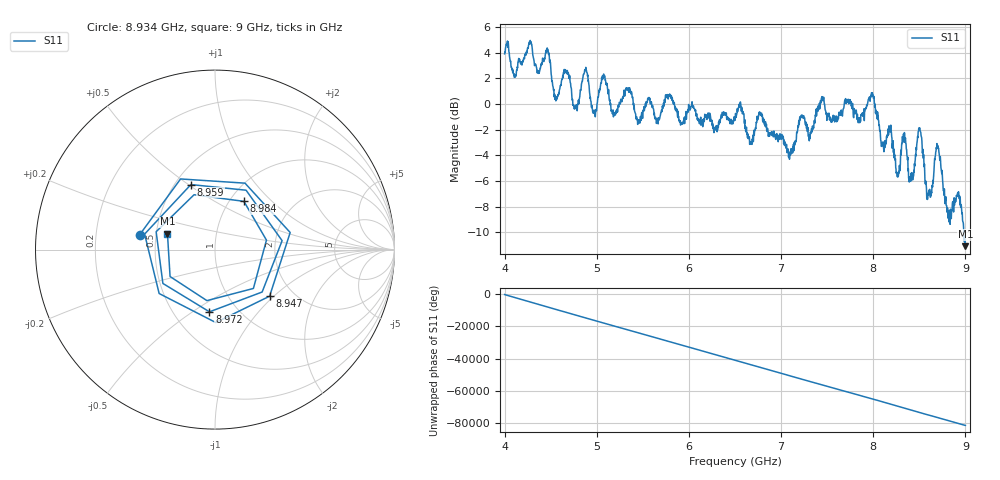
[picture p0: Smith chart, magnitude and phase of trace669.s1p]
! Created with skrf 1.8.0 (http://scikit-rf.org).
# Hz S RI R 50.0
!freq ReS11 ImS11
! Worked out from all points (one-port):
!   1601 points, 4 GHz to 9 GHz, reference 50 ohm
!   lowest |S11| = -11.1 dB at 9 GHz (marker M1), VSWR 1.78, Z = 28.7 + j5.51 ohm
!   |S11| at or under -10 dB: 8.983359 GHz to end of sweep
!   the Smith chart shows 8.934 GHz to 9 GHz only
!   S11 on the Smith chart (normalised r, x): 8.934 GHz: 0.40, +0.08; 8.947 GHz: 1.52, -0.94; 8.959 GHz: 0.60, +0.51; 8.972 GHz: 0.74, -0.59; 8.984 GHz: 1.16, +0.69; 9 GHz: 0.57, +0.11
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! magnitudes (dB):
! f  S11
! 4 GHz  3.9
! 4.466 GHz  4.3
! 4.562 GHz  0.3
! 4.625 GHz  1.9
! 4.766 GHz  -0.4
! 4.878 GHz  2.6
! 4.966 GHz  -0.7
! 5.072 GHz  2.2
! 5.25 GHz  0.1
! 5.875 GHz  -0.8
! 6.5 GHz  -1.3
! 7.125 GHz  -3.8
! 7.441 GHz  0.5
! 7.75 GHz  0.3
! 7.988 GHz  0.7
! 8.103 GHz  -3.0
! 8.375 GHz  -4.1
! 8.419 GHz  -5.3
! 8.503 GHz  -1.9
! 8.603 GHz  -6.7
! 8.697 GHz  -3.2
! 8.822 GHz  -8.6
! 8.934 GHz  -7.4
! 8.947 GHz  -8.0
! 8.959 GHz  -8.3
! 8.972 GHz  -9.2
! 8.984 GHz  -10.1
! 9 GHz  -11.1
